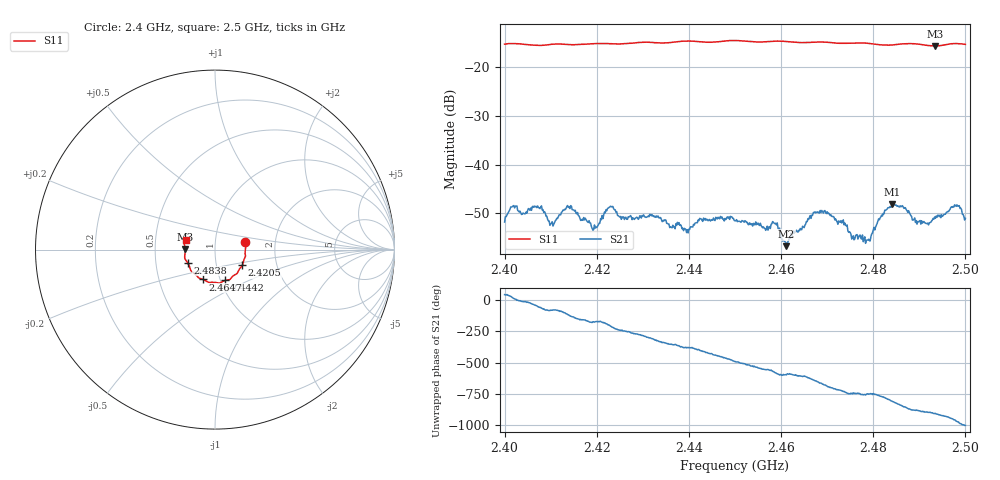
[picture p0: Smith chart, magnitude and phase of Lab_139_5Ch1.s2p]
# Hz S RI R 50
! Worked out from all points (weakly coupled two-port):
!   601 points, 2.4 GHz to 2.5 GHz, reference 50 ohm
!   highest |S21| = -48.10 dB at 2.4842 GHz (marker M1); lowest = -56.7 dB at 2.4612 GHz (marker M2)
!   lowest |S11| = -15.6 dB at 2.4935 GHz (marker M3), VSWR 1.40, Z = 35.8 + j0.146 ohm
!   |S11| at or under -10 dB: start of sweep to end of sweep
!   S12 and S22 are empty: the file has one direction only
!   S11 on the Smith chart (normalised r, x): 2.4 GHz: 1.40, +0.12; 2.4205 GHz: 1.33, -0.24; 2.4442 GHz: 1.05, -0.37; 2.4647 GHz: 0.83, -0.29; 2.4838 GHz: 0.73, -0.11; 2.5 GHz: 0.71, +0.08
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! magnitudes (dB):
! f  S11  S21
! 2.4 GHz  -15.2  -51.8
! 2.4022 GHz  -15.1  -48.8
! 2.4103 GHz  -15.3  -51.7
! 2.414 GHz  -15.3  -48.6
! 2.4167 GHz  -15.3  -51.4
! 2.4205 GHz  -15.1  -52.0
! 2.423 GHz  -15.1  -48.5
! 2.4333 GHz  -15.0  -50.5
! 2.4393 GHz  -14.6  -53.3
! 2.4442 GHz  -14.9  -51.5
! 2.45 GHz  -14.5  -51.5
! 2.4587 GHz  -14.6  -52.1
! 2.4612 GHz  -14.7  -56.7
! 2.4647 GHz  -14.9  -52.6
! 2.4667 GHz  -14.9  -50.4
! 2.4788 GHz  -15.1  -55.4
! 2.4833 GHz  -15.4  -48.8
! 2.4838 GHz  -15.4  -48.7
! 2.4842 GHz  -15.4  -48.1
! 2.4935 GHz  -15.6  -51.0
! 2.4982 GHz  -15.1  -48.2
! 2.5 GHz  -15.3  -51.0
